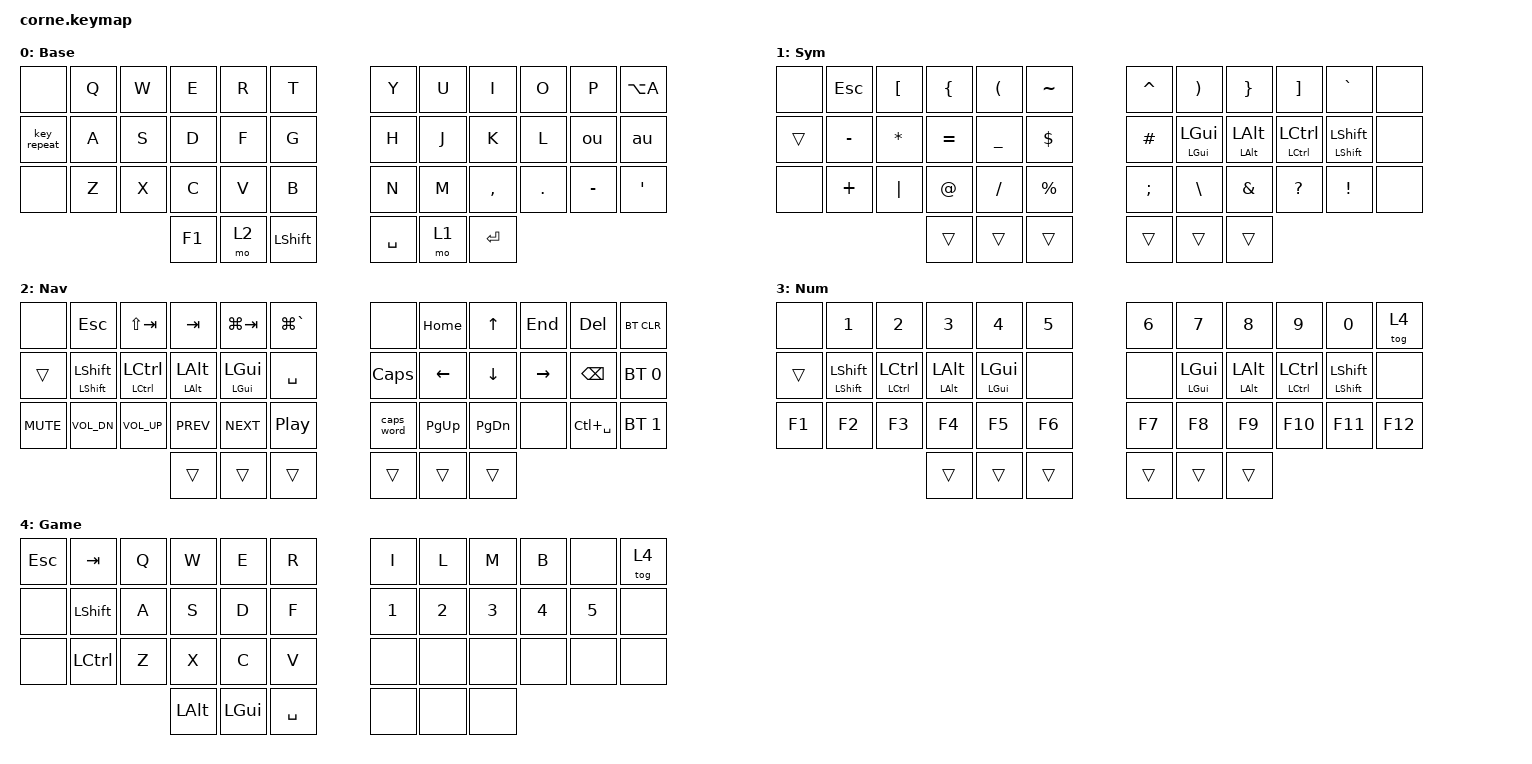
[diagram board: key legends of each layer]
/*
 * Copyright (c) 2020 The ZMK Contributors
 *
 * SPDX-License-Identifier: MIT
 */

#include <behaviors.dtsi>
#include <dt-bindings/zmk/bt.h>
#include <dt-bindings/zmk/keys.h>

/ {
    macros {
        au_lower: au_lower {
            compatible = "zmk,behavior-macro";
            #binding-cells = <0>;
            wait-ms = <40>;
            tap-ms = <40>;
            bindings =
                <&macro_press>,
                <&kp LALT>,
                <&macro_tap>,
                <&kp U>,
                <&macro_release>,
                <&kp LALT>,
                <&macro_tap>,
                <&kp A>;
        };

        au_upper: au_upper {
            compatible = "zmk,behavior-macro";
            #binding-cells = <0>;
            wait-ms = <40>;
            tap-ms = <40>;
            bindings =
                <&macro_press>,
                <&kp LALT>,
                <&macro_tap>,
                <&kp U>,
                <&macro_release>,
                <&kp LALT>,
                <&macro_press>,
                <&kp LSHFT>,
                <&macro_tap>,
                <&kp A>,
                <&macro_release>,
                <&kp LSHFT>;
        };

        ou_lower: ou_lower {
            compatible = "zmk,behavior-macro";
            #binding-cells = <0>;
            wait-ms = <40>;
            tap-ms = <40>;
            bindings =
                <&macro_press>,
                <&kp LALT>,
                <&macro_tap>,
                <&kp U>,
                <&macro_release>,
                <&kp LALT>,
                <&macro_tap>,
                <&kp O>;
        };

        ou_upper: ou_upper {
            compatible = "zmk,behavior-macro";
            #binding-cells = <0>;
            wait-ms = <40>;
            tap-ms = <40>;
            bindings =
                <&macro_press>,
                <&kp LALT>,
                <&macro_tap>,
                <&kp U>,
                <&macro_release>,
                <&kp LALT>,
                <&macro_press>,
                <&kp LSHFT>,
                <&macro_tap>,
                <&kp O>,
                <&macro_release>,
                <&kp LSHFT>;
        };
    };

    behaviors {
        au: au {
            compatible = "zmk,behavior-mod-morph";
            label = "AU";
            bindings = <&au_lower>, <&au_upper>;

            #binding-cells = <0>;
            mods = <(MOD_LSFT)>;
        };

        ou: ou {
            compatible = "zmk,behavior-mod-morph";
            label = "OU";
            bindings = <&ou_lower>, <&ou_upper>;

            #binding-cells = <0>;
            mods = <(MOD_LSFT)>;
        };

        skot: sk_on_tap {
            compatible = "zmk,behavior-hold-tap";
            label = "SK_ON_TAP";
            bindings = <&kp>, <&sk>;

            #binding-cells = <2>;
            tapping-term-ms = <200>;
            hold-while-undecided;
            hold-while-undecided-linger;
            flavor = "tap-preferred";
        };
    };

    keymap {
        compatible = "zmk,keymap";

        base_layer {
            display-name = "Base";
            bindings = <
&none        &kp Q  &kp W  &kp E   &kp R  &kp T        &kp Y      &kp U  &kp I      &kp O    &kp P      &kp LA(A)
&key_repeat  &kp A  &kp S  &kp D   &kp F  &kp G        &kp H      &kp J  &kp K      &kp L    &ou        &au
&none        &kp Z  &kp X  &kp C   &kp V  &kp B        &kp N      &kp M  &kp COMMA  &kp DOT  &kp MINUS  &kp SQT
                           &kp F1  &mo 2  &kp LSHFT    &kp SPACE  &mo 1  &kp ENTER
            >;
        };

        sym_layer {
            display-name = "Sym";
            bindings = <
&none   &kp ESC    &kp LBKT   &kp LBRC   &kp LPAR   &kp TILDE    &kp CARET      &kp RPAR         &kp RBRC         &kp RBKT           &kp GRAVE          &none
&trans  &kp MINUS  &kp ASTRK  &kp EQUAL  &kp UNDER  &kp DLLR     &kp HASH       &skot LGUI LGUI  &skot LALT LALT  &skot LCTRL LCTRL  &skot LSHFT LSHFT  &none
&none   &kp PLUS   &kp PIPE   &kp AT     &kp SLASH  &kp PRCNT    &kp SEMICOLON  &kp BSLH         &kp AMPS         &kp QMARK          &kp EXCL           &none
                              &trans     &trans     &trans       &trans         &trans           &trans
            >;
        };

        nav_layer {
            display-name = "Nav";
            bindings = <
&none       &kp ESC            &kp LS(TAB)        &kp TAB          &kp LG(TAB)      &kp LG(GRAVE)       &none         &kp HOME     &kp UP         &kp END    &kp DEL        &bt BT_CLR
&trans      &skot LSHFT LSHFT  &skot LCTRL LCTRL  &skot LALT LALT  &skot LGUI LGUI  &kp SPACE           &kp CAPSLOCK  &kp LEFT     &kp DOWN       &kp RIGHT  &kp BACKSPACE  &bt BT_SEL 0
&kp C_MUTE  &kp C_VOL_DN       &kp C_VOL_UP       &kp C_PREV       &kp C_NEXT       &kp C_PLAY_PAUSE    &caps_word    &kp PAGE_UP  &kp PAGE_DOWN  &none      &kp LC(SPACE)  &bt BT_SEL 1
                                                  &trans           &trans           &trans              &trans        &trans       &trans
            >;
        };

        num_layer {
            display-name = "Num";
            bindings = <
&none   &kp N1             &kp N2             &kp N3           &kp N4           &kp N5    &kp N6  &kp N7           &kp N8           &kp N9             &kp N0             &tog 4
&trans  &skot LSHFT LSHFT  &skot LCTRL LCTRL  &skot LALT LALT  &skot LGUI LGUI  &none     &none   &skot LGUI LGUI  &skot LALT LALT  &skot LCTRL LCTRL  &skot LSHFT LSHFT  &none
&kp F1  &kp F2             &kp F3             &kp F4           &kp F5           &kp F6    &kp F7  &kp F8           &kp F9           &kp F10            &kp F11            &kp F12
                                              &trans           &trans           &trans    &trans  &trans           &trans
            >;
        };

        game_layer {
            display-name = "Game";
            bindings = <
&kp ESC  &kp TAB    &kp Q  &kp W     &kp E     &kp R        &kp I   &kp L   &kp M   &kp B   &none   &tog 4
&none    &kp LSHFT  &kp A  &kp S     &kp D     &kp F        &kp N1  &kp N2  &kp N3  &kp N4  &kp N5  &none
&none    &kp LCTRL  &kp Z  &kp X     &kp C     &kp V        &none   &none   &none   &none   &none   &none
                           &kp LALT  &kp LGUI  &kp SPACE    &none   &none   &none
            >;
        };
    };

    conditional_layers {
        compatible = "zmk,conditional-layers";

        num_layer {
            if-layers = <1 2>;
            then-layer = <3>;
        };
    };
};
